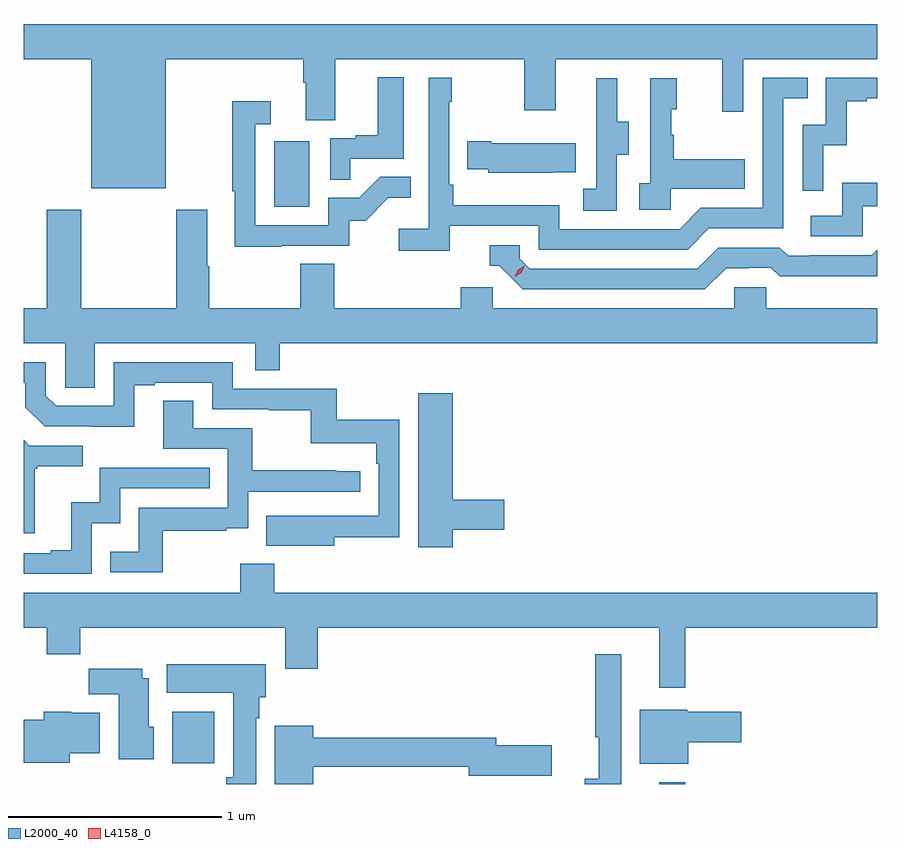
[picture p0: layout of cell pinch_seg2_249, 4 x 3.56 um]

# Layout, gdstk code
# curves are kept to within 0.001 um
import gdstk
lib = gdstk.Library(unit=1e-6, precision=1e-09)
def R(c, l, rs):  # rectangles x0, y0, x1, y1
    for r in rs: c.add(gdstk.rectangle(r[:2], r[2:], *l))
def P(c, l, *ps):  # polygons
    for p in ps: c.add(gdstk.Polygon(p, *l))
L2000_40 = (2000, 40)
L4158_0 = (4158, 0)

pinch_seg2_249 = lib.new_cell('pinch_seg2_249')
R(pinch_seg2_249, L2000_40, [(952.115,658.891,952.237,658.9), (949.835,658.988,950.032,659.23), (950.312,661.596,950.476,661.903)])
P(pinch_seg2_249, L2000_40, [(949.804,662.288),(950.447,662.288),(950.447,662.176),(950.459,662.176),(950.459,662.002),(950.599,662.002),(950.599,662.288),(951.484,662.288),(951.484,662.049),(951.631,662.049),(951.631,662.288),(952.412,662.288),(952.412,662.04),(952.509,662.04),(952.509,662.288),(953.138,662.288),(953.138,662.452),(949.138,662.452),(949.138,662.288),(949.454,662.288),(949.454,661.682),(949.804,661.682)],
  [(950.669,661.821),(950.92,661.821),(950.92,662.203),(950.798,662.203),(950.798,661.93),(950.695,661.93),(950.695,661.917),(950.574,661.917),(950.574,661.723),(950.669,661.723)],
  [(951.134,661.506),(951.552,661.506),(951.552,661.395),(952.249,661.395),(952.348,661.494),(952.698,661.494),(952.698,662.103),(952.811,662.103),(952.811,662.199),(952.602,662.199),(952.602,661.59),(952.311,661.59),(952.212,661.491),(951.648,661.491),(951.648,661.603),(951.152,661.603),(951.152,661.699),(951.132,661.699),(951.132,662.087),(951.145,662.087),(951.145,662.2),(951.036,662.2),(951.036,661.492),(950.895,661.492),(950.895,661.39),(951.134,661.39)],
  [(952.884,661.883),(952.994,661.883),(952.994,662.091),(953.089,662.091),(953.089,662.103),(953.138,662.103),(953.138,662.199),(952.896,662.199),(952.896,661.98),(952.788,661.98),(952.788,661.671),(952.884,661.671)],
  [(952.17,661.679),(952.517,661.679),(952.517,661.819),(952.183,661.819),(952.183,661.934),(952.173,661.934),(952.173,662.052),(952.198,662.052),(952.198,662.197),(952.074,662.197),(952.074,661.706),(952.023,661.706),(952.023,661.581),(952.17,661.581)],
  [(951.918,661.84),(951.973,661.84),(951.973,661.995),(951.919,661.995),(951.919,662.197),(951.821,662.197),(951.821,661.983),(951.822,661.983),(951.822,661.679),(951.759,661.679),(951.759,661.576),(951.918,661.576)],
  [(950.345,661.413),(950.664,661.413),(950.664,661.53),(950.74,661.53),(950.847,661.637),(950.951,661.637),(950.951,661.736),(950.808,661.736),(950.71,661.638),(950.565,661.638),(950.565,661.509),(950.223,661.509),(950.223,661.983),(950.296,661.983),(950.296,662.089),(950.115,662.089),(950.115,661.669),(950.127,661.669),(950.127,661.408),(950.345,661.408)],
  [(951.617,661.757),(951.725,661.757),(951.725,661.894),(951.328,661.894),(951.328,661.902),(951.217,661.902),(951.217,661.772),(951.315,661.772),(951.315,661.754),(951.617,661.754)],
  [(953.07,661.599),(953.138,661.599),(953.138,661.708),(952.974,661.708),(952.974,661.554),(952.827,661.554),(952.827,661.458),(953.07,661.458)],
  [(949.471,660.956),(950.223,660.956),(950.223,660.829),(950.339,660.829),(950.339,660.956),(953.138,660.956),(953.138,661.12),(952.617,661.12),(952.617,661.218),(952.467,661.218),(952.467,661.12),(951.336,661.12),(951.336,661.218),(951.185,661.218),(951.185,661.12),(950.594,661.12),(950.594,661.328),(950.434,661.328),(950.434,661.12),(950.007,661.12),(950.007,661.316),(949.999,661.316),(949.999,661.582),(949.852,661.582),(949.852,661.12),(949.407,661.12),(949.407,661.582),(949.247,661.582),(949.247,661.12),(949.138,661.12),(949.138,660.956),(949.332,660.956),(949.332,660.748),(949.471,660.748)],
  [(952.429,661.308),(952.536,661.308),(952.536,661.311),(952.639,661.311),(952.681,661.269),(952.914,661.269),(952.914,661.271),(953.138,661.271),(953.138,661.394),(953.112,661.368),(952.819,661.368),(952.819,661.365),(952.72,661.365),(952.681,661.404),(952.392,661.404),(952.293,661.305),(951.51,661.305),(951.462,661.353),(951.462,661.416),(951.323,661.416),(951.323,661.32),(951.366,661.32),(951.477,661.209),(952.33,661.209)],
  [(950.593,660.046),(950.898,660.046),(950.898,660.598),(950.605,660.598),(950.605,660.744),(950.118,660.744),(950.118,660.867),(949.56,660.867),(949.56,660.663),(949.29,660.663),(949.242,660.711),(949.242,660.867),(949.138,660.867),(949.138,660.771),(949.146,660.771),(949.146,660.657),(949.236,660.567),(949.657,660.566),(949.657,660.759),(949.753,660.759),(949.753,660.771),(950.022,660.771),(950.022,660.648),(950.287,660.648),(950.287,660.643),(950.484,660.643),(950.484,660.488),(950.789,660.488),(950.789,660.392),(950.802,660.392),(950.802,660.147),(950.275,660.148),(950.275,660.008),(950.593,660.008)],
  [(951.148,660.082),(951.391,660.082),(951.391,660.224),(951.148,660.224),(951.148,660.721),(950.987,660.721),(950.987,660),(951.148,660)],
  [(949.789,660.078),(950.087,660.078),(950.087,660.089),(950.19,660.089),(950.19,660.261),(950.716,660.261),(950.716,660.357),(950.603,660.357),(950.603,660.362),(950.21,660.362),(950.21,660.558),(949.933,660.558),(949.933,660.686),(949.793,660.686),(949.793,660.462),(950.094,660.462),(950.094,660.186),(949.678,660.186),(949.678,659.98),(949.543,659.98),(949.543,659.883),(949.789,659.883)],
  [(949.189,660.369),(949.201,660.369),(949.201,660.38),(949.414,660.38),(949.414,660.477),(949.164,660.477),(949.138,660.503),(949.138,660.066),(949.189,660.066)],
  [(949.458,660.113),(949.59,660.113),(949.59,660.276),(950.009,660.276),(950.009,660.372),(949.494,660.372),(949.494,660.211),(949.361,660.211),(949.361,659.986),(949.265,659.986),(949.265,659.973),(949.138,659.973),(949.138,659.877),(949.458,659.877)],
  [(952.237,659.624),(953.138,659.624),(953.138,659.788),(950.312,659.788),(950.312,659.923),(950.152,659.923),(950.152,659.788),(949.138,659.788),(949.138,659.624),(949.247,659.624),(949.247,659.5),(949.403,659.5),(949.403,659.624),(950.363,659.624),(950.363,659.43),(950.516,659.43),(950.516,659.624),(952.115,659.624),(952.115,659.343),(952.237,659.343)],
  [(951.937,659.5),(951.816,659.5),(951.816,659.111),(951.833,659.111),(951.833,658.915),(951.767,658.915),(951.767,658.891),(951.937,658.891)],
  [(950.227,659.198),(950.242,659.198),(950.242,659.298),(950.272,659.298),(950.272,659.452),(949.808,659.452),(949.808,659.318),(950.12,659.318),(950.12,658.922),(950.087,658.922),(950.087,658.891),(950.227,658.891)],
  [(949.747,659.16),(949.723,659.16),(949.723,659.386),(949.693,659.386),(949.693,659.431),(949.444,659.431),(949.444,659.312),(949.583,659.312),(949.583,659.006),(949.747,659.006)],
  [(952.252,659.087),(952.501,659.087),(952.501,659.229),(952.248,659.229),(952.248,659.239),(952.025,659.239),(952.025,658.985),(952.252,658.985)],
  [(949.354,659.036),(949.495,659.036),(949.495,659.224),(949.362,659.224),(949.362,659.23),(949.232,659.23),(949.232,659.191),(949.138,659.191),(949.138,658.991),(949.354,658.991)],
  [(950.494,658.972),(951.224,658.972),(951.224,658.93),(951.613,658.93),(951.613,659.072),(951.352,659.072),(951.352,659.108),(950.494,659.108),(950.494,659.164),(950.315,659.164),(950.315,658.891),(950.494,658.891)])
P(pinch_seg2_249, L4158_0, [(951.438,661.268),(951.438,661.268),(951.455,661.3),(951.485,661.319),(951.486,661.319),(951.486,661.319),(951.469,661.286),(951.439,661.268)])

lib.write_gds('pinch_seg2_249.gds')
